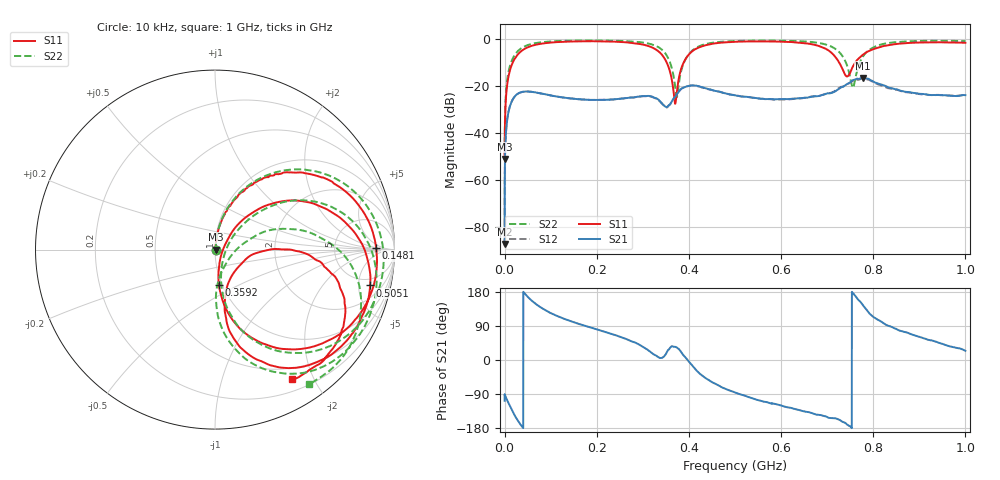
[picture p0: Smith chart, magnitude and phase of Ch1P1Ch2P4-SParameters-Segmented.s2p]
#  HZ  S  DB  R  50.00
! Rohde & Schwarz Vector Network Analyzer
! Rohde-Schwarz,ZNL6-2Port,1323001206101709,1.40.1.1-21.04.2.40
! Created: UTC 3/14/2023, 9:59:02 AM
! freq[Hz]  db:S11  ang:S11  db:S21  ang:S21  db:S12  ang:S12  db:S22  ang:S22
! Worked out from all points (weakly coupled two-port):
!   4997 points, 10 kHz to 1 GHz, reference 50 ohm
!   highest |S21| = -16.49 dB at 777.4 MHz (marker M1); lowest = -87.1 dB at 10 kHz (marker M2)
!   lowest |S11| = -50.9 dB at 10 kHz (marker M3), VSWR 1.01, Z = 50.3 + j0.0326 ohm
!   |S11| at or under -10 dB: start of sweep to 17.42 MHz; 352 MHz to 388.4 MHz (36.34 MHz wide, 9.82 % of centre); 726.3 MHz to 760.8 MHz (34.44 MHz wide, 4.63 % of centre)
!   |S22| runs from -48.9 to -0.5 dB; largest |S21 - S12| = 0.012
!   S11 on the Smith chart (normalised r, x): 10 kHz: 1.01, +0.00; 148.1 MHz: 18, +2; 359.2 MHz: 0.96, -0.40; 505.1 MHz: 3.65, -6.86; 1 GHz: 0.35, -1.70
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10000  -50.91 6.5  -87.09 -107.4  -88.07 -109.1  -48.90 2.5
101000  -48.85 33.6  -68.35 -93.0  -68.90 -92.6  -47.04 34.5
1010000  -33.96 79.6  -49.01 -92.9  -48.95 -93.0  -31.92 79.3
8303419  -16.00 77.6  -31.06 -113.3  -31.05 -114.1  -14.04 75.8
1.747229e7  -9.98 67.2  -25.67 -136.2  -25.68 -137.3  -8.25 63.6
6.727592e7  -2.35 28.4  -22.65 148.3  -22.61 146.4  -1.63 24.2
1.481287e8  -0.94 0.6  -25.26 100.5  -25.27 99.2  -0.56 -0.1
1.668832e8  -0.87 -4.1  -25.61 93.1  -25.60 91.8  -0.52 -4.1
2.656569e8  -1.32 -30.4  -24.96 54.5  -24.97 53.4  -0.82 -26.1
3.333815e8  -5.05 -65.3  -25.62 7.5  -25.76 6.6  -3.32 -56.6
3.592211e8  -13.98 -83.6  -27.68 32.4  -27.59 32.3  -9.99 -78.8
3.740163e8  -21.78 35.6  -23.34 32.6  -23.23 30.7  -24.59 -11.3
3.856857e8  -11.19 45.3  -20.82 16.5  -20.73 14.9  -11.78 41.7
4.063157e8  -5.24 29.7  -19.64 -13.5  -19.64 -15.2  -4.97 29.1
5.000882e8  -1.07 -11.6  -23.85 -85.6  -23.85 -86.8  -0.74 -11.2
5.050894e8  -1.04 -13.0  -24.00 -87.9  -24.00 -89.2  -0.71 -12.5
6.667949e8  -2.11 -57.4  -24.45 -139.9  -24.30 -141.0  -1.17 -50.0
7.263926e8  -10.03 -80.1  -20.99 -157.8  -20.68 -161.1  -5.50 -80.5
7.553579e8  -11.78 -2.5  -17.48 177.4  -17.80 172.9  -20.54 -39.8
7.774465e8  -6.60 -1.3  -16.49 144.9  -16.76 142.5  -7.42 15.7
8.335017e8  -2.50 -18.8  -20.52 89.9  -20.91 91.0  -1.57 -14.9
1e9  -1.51 -59.5  -23.79 24.2  -23.73 23.3  -0.79 -55.1
